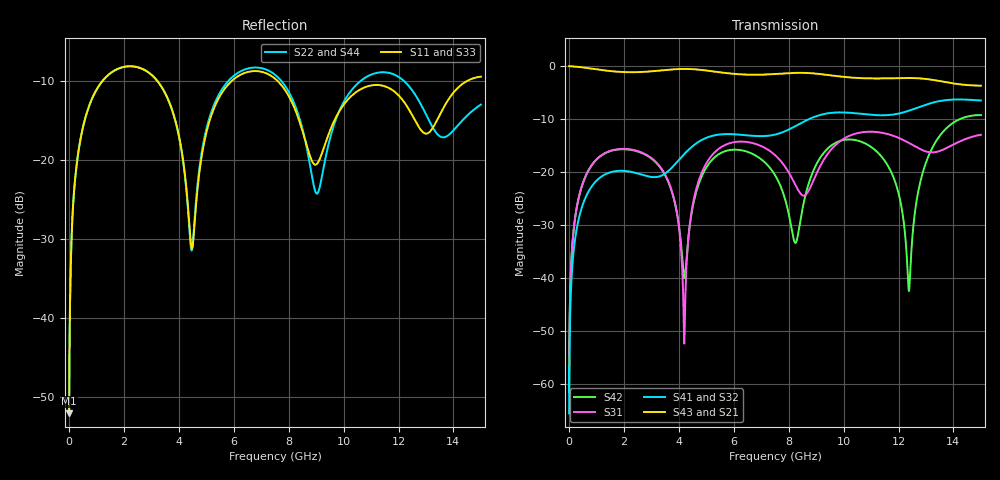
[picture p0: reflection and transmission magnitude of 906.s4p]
! Created with skrf 1.8.0 (http://scikit-rf.org).
# GHz S RI R 50.0
!freq ReS11 ImS11 ReS12 ImS12 ReS13 ImS13
! ReS14 ImS14
! ReS21 ImS21 ReS22 ImS22 ReS23 ImS23
! ReS24 ImS24
! ReS31 ImS31 ReS32 ImS32 ReS33 ImS33
! ReS34 ImS34
! ReS41 ImS41 ReS42 ImS42 ReS43 ImS43
! ReS44 ImS44
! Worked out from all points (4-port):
!   2499 points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, 5 MHz to 15 GHz, reference 50 ohm
!   strongest paths, dB at 5 MHz, 3.476 GHz, 7.19 GHz, 11.1 GHz, 15 GHz:
!     S43: 0.0, -0.8, -1.6, -2.3, -3.7
!     S21: 0.0, -0.8, -1.6, -2.3, -3.7
!     S41: -65.6, -20.4, -13.2, -9.2, -6.5
!     S32: -65.6, -20.4, -13.2, -9.3, -6.6
!     S31: -61.6, -20.3, -15.6, -12.4, -13.0
!     S42: -61.6, -20.4, -18.5, -15.7, -9.3
!   lowest |S11| = -52.0 dB at 5 MHz (marker M1), VSWR 1.01, Z = 50.2 + j0.152 ohm
!   |S11| at or under -10 dB: start of sweep to 1.234 GHz; 3.204 GHz to 5.945 GHz (2.741 GHz wide, 59.9 % of centre); 7.58 GHz to 14.53 GHz (6.949 GHz wide, 62.9 % of centre)
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0.005  0.002 0.00151  0.998 -0.00389  0.000103 0.00083  -9.97e-05 -0.000515
       0.998 -0.00389  0.002 0.00151  -9.97e-05 -0.000515  0.000103 0.00083
       0.000103 0.00083  -9.97e-05 -0.000515  0.002 0.00151  0.998 -0.00389
       -9.97e-05 -0.000515  0.000103 0.00083  0.998 -0.00389  0.002 0.00151
1.3193  0.2803 0.1714  0.524 -0.7419  0.1388 0.0596  -0.0949 -0.00167
        0.524 -0.7419  0.2812 0.1708  -0.0949 -0.00175  0.1365 0.063
        0.1388 0.0596  -0.0949 -0.00175  0.2803 0.1714  0.524 -0.7419
        -0.0949 -0.00167  0.1365 0.063  0.524 -0.7419  0.2812 0.1708
4.195498  0.0424 -0.0773  -0.9015 -0.2652  0.00233 -0.000672  -0.0366 0.1426
          -0.9015 -0.2652  0.0406 -0.0761  -0.0375 0.1423  -0.0097 -0.00247
          0.00233 -0.000672  -0.0375 0.1423  0.0433 -0.0781  -0.9013 -0.2656
          -0.0366 0.1426  -0.0097 -0.00247  -0.9013 -0.2656  0.0403 -0.0772
5.308462  0.1475 0.1587  -0.7669 0.4433  0.1349 0.073  0.1418 0.1708
          -0.7669 0.4433  0.1577 0.164  0.1405 0.1713  0.1003 0.0943
          0.1349 0.073  0.1405 0.1713  0.1478 0.1565  -0.7676 0.443
          0.1418 0.1708  0.1003 0.0943  -0.7676 0.443  0.1552 0.163
9.016257  0.0937 0.00221  0.8393 0.1173  -0.01 0.0961  0.0354 -0.335
          0.8393 0.1173  0.0605 -0.00887  0.0405 -0.3346  0.00398 0.1188
          -0.01 0.0961  0.0405 -0.3346  0.0906 0.00781  0.8398 0.1149
          0.0354 -0.335  0.00398 0.1188  0.8398 0.1149  0.0617 -0.0036
12.38016  0.1983 -0.0615  -0.389 -0.6663  -0.0783 -0.1706  -0.3199 0.2034
          -0.389 -0.6663  0.2527 -0.1448  -0.3239 0.1967  0.00613 0.00431
          -0.0783 -0.1706  -0.3239 0.1967  0.1956 -0.0644  -0.3904 -0.6658
          -0.3199 0.2034  0.00613 0.00431  -0.3904 -0.6658  0.2526 -0.1428
15  0.3346 0.00364  -0.5069 0.4132  0.2043 0.0928  0.3744 0.2888
    -0.5069 0.4132  0.2227 0.00833  0.3667 0.2946  0.3343 0.0809
    0.2043 0.0928  0.3667 0.2946  0.3392 0.00362  -0.505 0.4147
    0.3744 0.2888  0.3343 0.0809  -0.505 0.4147  0.2177 0.00919
